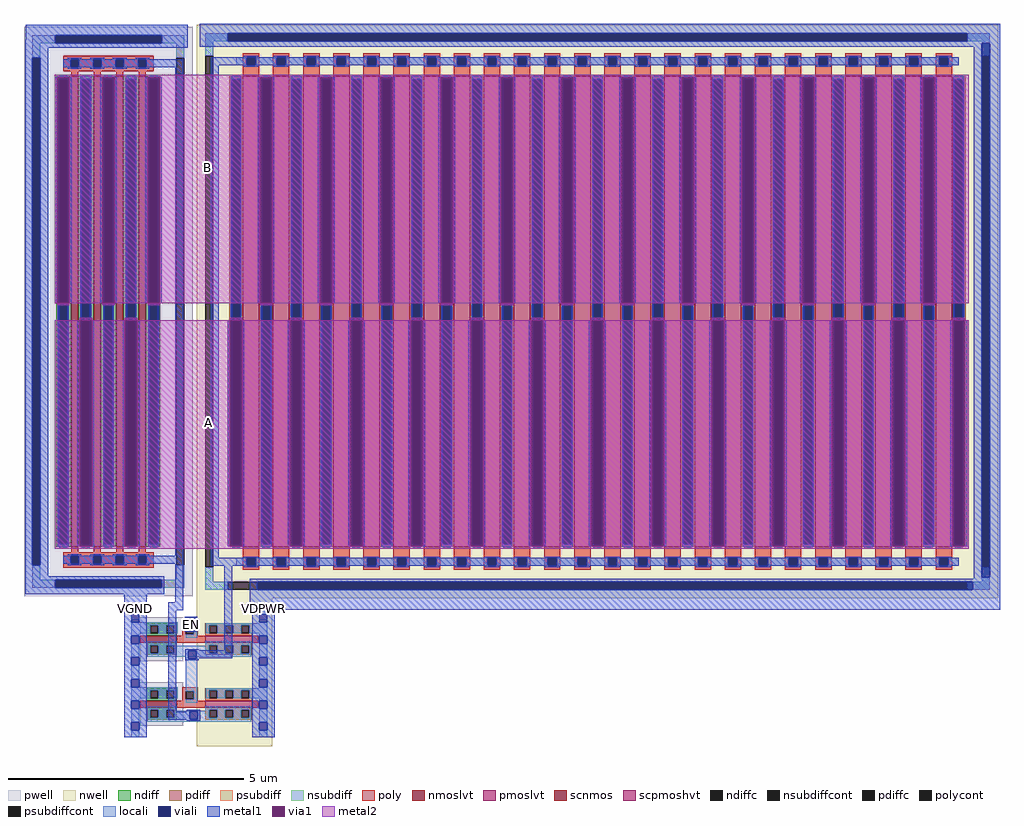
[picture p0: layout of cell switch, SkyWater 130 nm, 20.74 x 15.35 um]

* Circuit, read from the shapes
.subckt switch VDPWR A B VGND EN
XM1 A XM1/G B VGND sky130_fd_pr__nfet_01v8_lvt w=10 l=0.15 m=4
XM2 VGND x2/A XM1/G VGND sky130_fd_pr__nfet_01v8 w=0.65 l=0.15
XM3 VGND EN x2/A VGND sky130_fd_pr__nfet_01v8 w=0.65 l=0.15
XM4 VDPWR x2/A XM1/G VDPWR sky130_fd_pr__pfet_01v8_hvt w=1 l=0.15
XM5 VDPWR EN x2/A VDPWR sky130_fd_pr__pfet_01v8_hvt w=1 l=0.15
XM6 B x2/A A VDPWR sky130_fd_pr__pfet_01v8_lvt w=10 l=0.35 m=24
.ends

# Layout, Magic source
magic
tech sky130A
magscale 1 2
<< locali >>
rect 848 658 857 690
rect 891 658 896 690
rect 848 525 896 658
<< viali >>
rect 292 3273 746 3307
rect 1026 3282 4168 3316
rect 196 1055 230 3211
rect 4230 1005 4264 3274
rect 292 959 746 993
rect 1151 950 4192 984
rect 853 787 887 821
rect 857 658 891 692
rect 864 400 898 434
<< metal1 >>
rect 167 3307 855 3352
rect 167 3286 292 3307
rect 166 3273 292 3286
rect 746 3273 855 3307
rect 166 3255 855 3273
rect 906 3316 4308 3356
rect 906 3282 1026 3316
rect 4168 3282 4308 3316
rect 906 3274 4308 3282
rect 906 3258 4230 3274
rect 166 3211 263 3255
rect 166 1055 196 3211
rect 230 1055 263 3211
rect 711 3171 836 3205
rect 291 2169 301 3130
rect 353 2169 363 3130
rect 483 2169 493 3130
rect 545 2169 554 3130
rect 675 2169 685 3130
rect 737 2169 746 3130
rect 387 1136 397 2097
rect 449 1136 459 2097
rect 579 1136 589 2097
rect 641 1136 651 2097
rect 802 1095 836 3171
rect 703 1061 836 1095
rect 166 1008 263 1055
rect 166 993 755 1008
rect 166 959 292 993
rect 746 959 755 993
rect 166 931 755 959
rect 585 822 681 931
rect 802 897 836 1061
rect 954 3180 1068 3214
rect 954 1086 988 3180
rect 1153 2169 1163 3130
rect 1215 2169 1224 3130
rect 1409 2169 1419 3130
rect 1471 2169 1480 3130
rect 1665 2169 1675 3130
rect 1727 2169 1736 3130
rect 1921 2169 1931 3130
rect 1983 2169 1992 3130
rect 2177 2169 2187 3130
rect 2239 2169 2248 3130
rect 2433 2169 2443 3130
rect 2495 2169 2504 3130
rect 2689 2169 2699 3130
rect 2751 2169 2760 3130
rect 2945 2169 2955 3130
rect 3007 2169 3016 3130
rect 3201 2169 3211 3130
rect 3263 2169 3272 3130
rect 3457 2169 3467 3130
rect 3519 2169 3528 3130
rect 3713 2169 3723 3130
rect 3775 2169 3784 3130
rect 3969 2169 3979 3130
rect 4031 2169 4040 3130
rect 1025 1136 1035 2097
rect 1087 1136 1097 2097
rect 1281 1136 1291 2097
rect 1343 1136 1353 2097
rect 1537 1136 1547 2097
rect 1599 1136 1609 2097
rect 1793 1136 1803 2097
rect 1855 1136 1865 2097
rect 2049 1136 2059 2097
rect 2111 1136 2121 2097
rect 2305 1136 2315 2097
rect 2367 1136 2377 2097
rect 2561 1136 2571 2097
rect 2623 1136 2633 2097
rect 2817 1136 2827 2097
rect 2879 1136 2889 2097
rect 3073 1136 3083 2097
rect 3135 1136 3145 2097
rect 3329 1136 3339 2097
rect 3391 1136 3401 2097
rect 3585 1136 3595 2097
rect 3647 1136 3657 2097
rect 3841 1136 3851 2097
rect 3903 1136 3913 2097
rect 4097 1136 4107 2097
rect 4159 1136 4169 2097
rect 954 1052 1067 1086
rect 774 863 836 897
rect 774 433 808 863
rect 844 830 896 836
rect 844 772 896 778
rect 845 694 903 698
rect 1012 694 1046 1052
rect 4197 1005 4230 3258
rect 4264 1005 4308 3274
rect 4197 998 4308 1005
rect 1119 984 4308 998
rect 1119 950 1151 984
rect 4192 950 4308 984
rect 1119 866 4308 950
rect 1129 822 1225 866
rect 4192 865 4308 866
rect 845 692 1046 694
rect 845 658 857 692
rect 891 660 1046 692
rect 891 658 903 660
rect 845 652 903 658
rect 852 434 910 440
rect 852 433 864 434
rect 774 400 864 433
rect 898 400 910 434
rect 774 399 910 400
rect 852 394 910 399
<< via1 >>
rect 301 2169 353 3130
rect 493 2169 545 3130
rect 685 2169 737 3130
rect 397 1136 449 2097
rect 589 1136 641 2097
rect 1163 2169 1215 3130
rect 1419 2169 1471 3130
rect 1675 2169 1727 3130
rect 1931 2169 1983 3130
rect 2187 2169 2239 3130
rect 2443 2169 2495 3130
rect 2699 2169 2751 3130
rect 2955 2169 3007 3130
rect 3211 2169 3263 3130
rect 3467 2169 3519 3130
rect 3723 2169 3775 3130
rect 3979 2169 4031 3130
rect 1035 1136 1087 2097
rect 1291 1136 1343 2097
rect 1547 1136 1599 2097
rect 1803 1136 1855 2097
rect 2059 1136 2111 2097
rect 2315 1136 2367 2097
rect 2571 1136 2623 2097
rect 2827 1136 2879 2097
rect 3083 1136 3135 2097
rect 3339 1136 3391 2097
rect 3595 1136 3647 2097
rect 3851 1136 3903 2097
rect 4107 1136 4159 2097
rect 844 821 896 830
rect 844 787 853 821
rect 853 787 887 821
rect 887 787 896 821
rect 844 778 896 787
<< metal2 >>
rect 291 3130 4175 3140
rect 291 2169 301 3130
rect 353 2169 493 3130
rect 545 2169 685 3130
rect 737 2169 1163 3130
rect 1215 2169 1419 3130
rect 1471 2169 1675 3130
rect 1727 2169 1931 3130
rect 1983 2169 2187 3130
rect 2239 2169 2443 3130
rect 2495 2169 2699 3130
rect 2751 2169 2955 3130
rect 3007 2169 3211 3130
rect 3263 2169 3467 3130
rect 3519 2169 3723 3130
rect 3775 2169 3979 3130
rect 4031 2169 4175 3130
rect 301 2159 353 2169
rect 493 2159 545 2169
rect 685 2159 737 2169
rect 1163 2159 1215 2169
rect 1419 2159 1471 2169
rect 1675 2159 1727 2169
rect 1931 2159 1983 2169
rect 2187 2159 2239 2169
rect 2443 2159 2495 2169
rect 2699 2159 2751 2169
rect 2955 2159 3007 2169
rect 3211 2159 3263 2169
rect 3467 2159 3519 2169
rect 3723 2159 3775 2169
rect 3979 2159 4031 2169
rect 397 2097 449 2107
rect 589 2097 641 2107
rect 1035 2097 1087 2107
rect 1291 2097 1343 2107
rect 1547 2097 1599 2107
rect 1803 2097 1855 2107
rect 2059 2097 2111 2107
rect 2315 2097 2367 2107
rect 2571 2097 2623 2107
rect 2827 2097 2879 2107
rect 3083 2097 3135 2107
rect 3339 2097 3391 2107
rect 3595 2097 3647 2107
rect 3851 2097 3903 2107
rect 4107 2097 4159 2107
rect 291 1136 397 2097
rect 449 1136 589 2097
rect 641 1136 1035 2097
rect 1087 1136 1291 2097
rect 1343 1136 1547 2097
rect 1599 1136 1803 2097
rect 1855 1136 2059 2097
rect 2111 1136 2315 2097
rect 2367 1136 2571 2097
rect 2623 1136 2827 2097
rect 2879 1136 3083 2097
rect 3135 1136 3339 2097
rect 3391 1136 3595 2097
rect 3647 1136 3851 2097
rect 3903 1136 4107 2097
rect 4159 1136 4175 2097
rect 291 1126 4175 1136
rect 838 778 844 830
rect 896 778 902 830
use sky130_fd_sc_hd__inv_1  x1 /foss/designs/ttsky26c-analog-park/mag
transform 0 1 633 -1 0 876
box -38 -48 314 592
use sky130_fd_sc_hd__inv_1  x2
transform 0 1 633 -1 0 600
box -38 -48 314 592
use sky130_fd_pr__nfet_01v8_lvt_6ZL56Z  XM1
transform 1 0 519 0 1 2133
box -359 -1210 359 1210
use sky130_fd_pr__pfet_01v8_lvt_HC4AVB  XM2
transform 1 0 2597 0 1 2133
box -1703 -1219 1703 1219
<< labels >>
flabel metal1 1129 822 1225 918 0 FreeSans 800 0 0 0 VDPWR
port 0 nsew
flabel metal2 853 787 887 821 0 FreeSans 400 0 0 0 EN
port 4 nsew
flabel metal1 585 822 681 918 0 FreeSans 800 0 0 0 VGND
port 3 nsew
flabel metal2 838 2644 1038 2844 0 FreeSans 1600 0 0 0 B
port 2 nsew
flabel metal2 842 1560 1042 1760 0 FreeSans 1600 0 0 0 A
port 1 nsew
<< end >>

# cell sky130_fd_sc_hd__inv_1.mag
magic
tech sky130A
magscale 1 2
<< nwell >>
rect -38 261 314 582
<< pwell >>
rect 42 21 228 203
rect 42 17 63 21
rect 29 -17 63 17
<< scnmos >>
rect 120 47 150 177
<< scpmoshvt >>
rect 120 297 150 497
<< ndiff >>
rect 68 165 120 177
rect 68 131 76 165
rect 110 131 120 165
rect 68 97 120 131
rect 68 63 76 97
rect 110 63 120 97
rect 68 47 120 63
rect 150 165 202 177
rect 150 131 160 165
rect 194 131 202 165
rect 150 97 202 131
rect 150 63 160 97
rect 194 63 202 97
rect 150 47 202 63
<< pdiff >>
rect 68 485 120 497
rect 68 451 76 485
rect 110 451 120 485
rect 68 417 120 451
rect 68 383 76 417
rect 110 383 120 417
rect 68 349 120 383
rect 68 315 76 349
rect 110 315 120 349
rect 68 297 120 315
rect 150 485 202 497
rect 150 451 160 485
rect 194 451 202 485
rect 150 417 202 451
rect 150 383 160 417
rect 194 383 202 417
rect 150 349 202 383
rect 150 315 160 349
rect 194 315 202 349
rect 150 297 202 315
<< ndiffc >>
rect 76 131 110 165
rect 76 63 110 97
rect 160 131 194 165
rect 160 63 194 97
<< pdiffc >>
rect 76 451 110 485
rect 76 383 110 417
rect 76 315 110 349
rect 160 451 194 485
rect 160 383 194 417
rect 160 315 194 349
<< poly >>
rect 120 497 150 523
rect 120 265 150 297
rect 64 249 150 265
rect 64 215 80 249
rect 114 215 150 249
rect 64 199 150 215
rect 120 177 150 199
rect 120 21 150 47
<< polycont >>
rect 80 215 114 249
<< locali >>
rect 0 527 29 561
rect 63 527 121 561
rect 155 527 213 561
rect 247 527 276 561
rect 68 485 110 527
rect 68 451 76 485
rect 68 417 110 451
rect 68 383 76 417
rect 68 349 110 383
rect 68 315 76 349
rect 68 299 110 315
rect 144 485 210 493
rect 144 451 160 485
rect 194 451 210 485
rect 144 417 210 451
rect 144 383 160 417
rect 194 383 210 417
rect 144 349 210 383
rect 144 315 160 349
rect 194 315 210 349
rect 144 297 210 315
rect 64 249 130 263
rect 64 215 80 249
rect 114 215 130 249
rect 64 165 110 181
rect 164 177 210 297
rect 64 131 76 165
rect 64 97 110 131
rect 64 63 76 97
rect 64 17 110 63
rect 144 165 210 177
rect 144 131 160 165
rect 194 131 210 165
rect 144 97 210 131
rect 144 63 160 97
rect 194 63 210 97
rect 144 51 210 63
rect 0 -17 29 17
rect 63 -17 121 17
rect 155 -17 213 17
rect 247 -17 276 17
<< viali >>
rect 29 527 63 561
rect 121 527 155 561
rect 213 527 247 561
rect 29 -17 63 17
rect 121 -17 155 17
rect 213 -17 247 17
<< metal1 >>
rect 0 561 276 592
rect 0 527 29 561
rect 63 527 121 561
rect 155 527 213 561
rect 247 527 276 561
rect 0 496 276 527
rect 0 17 276 48
rect 0 -17 29 17
rect 63 -17 121 17
rect 155 -17 213 17
rect 247 -17 276 17
rect 0 -48 276 -17
<< labels >>
flabel locali s 164 289 198 323 0 FreeSans 340 0 0 0 Y
port 6 nsew
flabel locali s 164 221 198 255 0 FreeSans 340 0 0 0 Y
port 6 nsew
flabel nwell s 29 527 63 561 0 FreeSans 200 0 0 0 VPB
port 4 nsew
flabel pwell s 29 -17 63 17 0 FreeSans 200 0 0 0 VNB
port 3 nsew
flabel metal1 s 29 -17 63 17 0 FreeSans 200 0 0 0 VGND
port 2 nsew
flabel metal1 s 29 527 63 561 0 FreeSans 200 0 0 0 VPWR
port 5 nsew
rlabel comment s 0 0 0 0 4 inv_1
flabel locali s 72 221 106 255 0 FreeSans 340 0 0 0 A
port 1 nsew
<< properties >>
string FIXED_BBOX 0 0 276 544
<< end >>

# cell sky130_fd_pr__nfet_01v8_lvt_6ZL56Z: kit device sky130_fd_pr__nfet_01v8_lvt, w 10 l 0.150 m 1 nf 4 diffcov 100 polycov 100 guard 1 glc 1 grc 1 gtc 1 gbc 1 tbcov 100 rlcov 100 topc 1 botc 1 poverlap 0 doverlap 1 lmin 0.15 wmin 0.42 class mosfet compatible {sky130_fd_pr__nfet_01v8 sky130_fd_pr__nfet_01v8_lvt sky130_fd_bs_flash__special_sonosfet_star sky130_fd_pr__nfet_g5v0d10v5 sky130_fd_pr__nfet_05v0_nvt sky130_fd_pr__nfet_03v3_nvt} full_metal 1 conn_gates 1 viasrc 100 viadrn 100 viagate 100 viagb 0 viagr 0 viagl 0 viagt 0 doports 1

# cell sky130_fd_pr__pfet_01v8_lvt_HC4AVB: kit device sky130_fd_pr__pfet_01v8_lvt, w 10 l 0.35 m 1 nf 24 diffcov 100 polycov 100 guard 1 glc 1 grc 1 gtc 1 gbc 1 tbcov 100 rlcov 100 topc 1 botc 1 poverlap 0 doverlap 1 lmin 0.35 wmin 0.42 class mosfet compatible {sky130_fd_pr__pfet_01v8 sky130_fd_pr__pfet_01v8_lvt sky130_fd_pr__pfet_01v8_hvt sky130_fd_pr__pfet_g5v0d10v5} full_metal 1 conn_gates 1 viasrc 100 viadrn 100 viagate 100 viagb 0 viagr 0 viagl 0 viagt 0 doports 1
